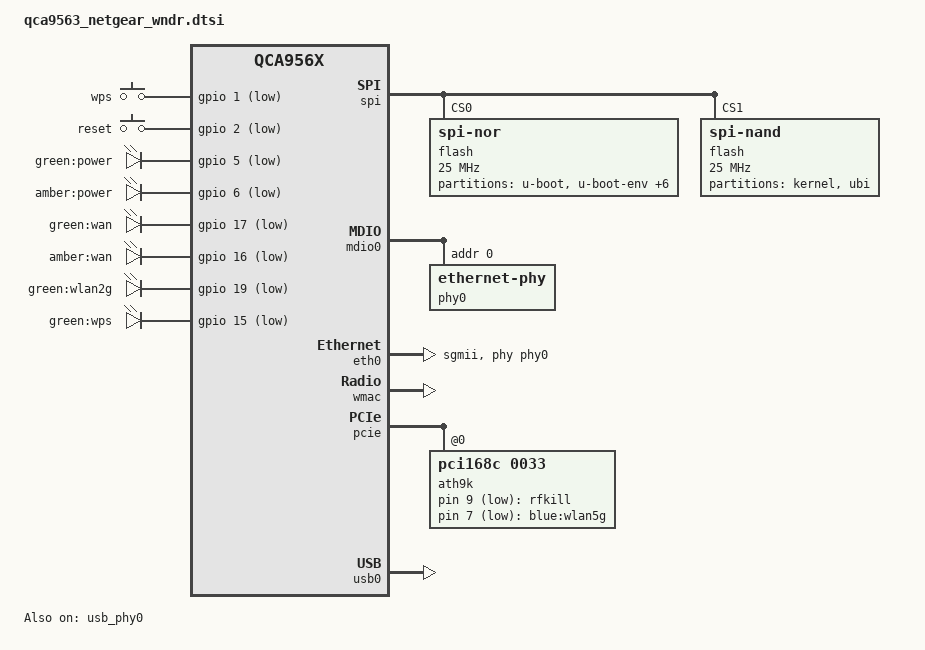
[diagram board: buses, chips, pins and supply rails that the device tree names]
// SPDX-License-Identifier: GPL-2.0-or-later OR MIT

#include "qca956x.dtsi"

#include <dt-bindings/gpio/gpio.h>
#include <dt-bindings/input/input.h>

/ {
	aliases {
		led-boot = &led_power_amber;
		led-failsafe = &led_power_amber;
		led-running = &led_power_green;
		led-upgrade = &led_power_amber;
		label-mac-device = &eth0;
	};

	keys {
		compatible = "gpio-keys";

		wps {
			label = "wps";
			linux,code = <KEY_WPS_BUTTON>;
			gpios = <&gpio 1 GPIO_ACTIVE_LOW>;
		};

		reset {
			label = "reset";
			linux,code = <KEY_RESTART>;
			gpios = <&gpio 2 GPIO_ACTIVE_LOW>;
		};
	};

	ath9k-keys {
		compatible = "gpio-keys-polled";
		poll-interval = <20>;

		rfkill {
			label = "rfkill";
			linux,code = <KEY_RFKILL>;
			gpios = <&ath9k 9 GPIO_ACTIVE_LOW>;
			debounce-interval = <60>;
		};
	};

	leds: leds {
		compatible = "gpio-leds";

		pinctrl-names = "default";
		pinctrl-0 = <&jtag_disable_pins>;

		led_power_green: power_green {
			label = "green:power";
			gpios = <&gpio 5 GPIO_ACTIVE_LOW>;
		};

		led_power_amber: power_amber {
			label = "amber:power";
			gpios = <&gpio 6 GPIO_ACTIVE_LOW>;
			default-state = "keep";
		};

		wan_green {
			label = "green:wan";
			gpios = <&gpio 17 GPIO_ACTIVE_LOW>;
		};

		wan_amber {
			label = "amber:wan";
			gpios = <&gpio 16 GPIO_ACTIVE_LOW>;
		};

		wlan2g_green {
			label = "green:wlan2g";
			gpios = <&gpio 19 GPIO_ACTIVE_LOW>;
			linux,default-trigger = "phy0tpt";
		};

		wps_green {
			label = "green:wps";
			gpios = <&gpio 15 GPIO_ACTIVE_LOW>;
		};
	};

	ath9k-leds {
		compatible = "gpio-leds";

		wlan5g_blue {
			label = "blue:wlan5g";
			gpios = <&ath9k 7 GPIO_ACTIVE_LOW>;
			linux,default-trigger = "phy1tpt";
		};
	};
};

&spi {
	status = "okay";

	flash@0 {
		compatible = "jedec,spi-nor";
		reg = <0>;
		spi-max-frequency = <25000000>;

		partitions {
			compatible = "fixed-partitions";
			#address-cells = <1>;
			#size-cells = <1>;

			partition@0 {
				label = "u-boot";
				reg = <0x0 0x40000>;
				read-only;
			};

			partition@40000 {
				label = "u-boot-env";
				reg = <0x40000 0x10000>;
			};

			partition@50000 {
				label = "caldata_backup";
				reg = <0x50000 0x10000>;
				read-only;
			};

			partition@60000 {
				label = "config";
				reg = <0x60000 0x10000>;
			};

			partition@70000 {
				label = "traffic_meter";
				reg = <0x70000 0x10000>;
			};

			partition@80000 {
				label = "pot";
				reg = <0x80000 0x10000>;
			};

			partition@90000 {
				label = "reserved";
				reg = <0x90000 0x160000>;
			};

			caldata: partition@1f0000 {
				label = "caldata";
				reg = <0x1f0000 0x10000>;
				read-only;
			};
		};
	};

	flash@1 {
		compatible = "spi-nand";
		reg = <1>;
		spi-max-frequency = <25000000>;

		partitions {
			compatible = "fixed-partitions";
			#address-cells = <1>;
			#size-cells = <1>;

			partition@0 {
				label = "kernel";
				reg = <0x0 0x400000>;
			};

			partition@400000 {
				label = "ubi";
				reg = <0x400000 0x7c00000>;
			};
		};
	};
};

&mdio0 {
	status = "okay";

	phy-mask = <0>;

	phy0: ethernet-phy@0 {
		reg = <0>;
		phy-mode = "sgmii";
		qca,mib-poll-interval = <500>;

		qca,ar8327-initvals = <
			0x04 0x00000080	/* PORT0 PAD MODE CTRL */
			0x10 0x81000080	/* POWER_ON_STRAP */
			0x50 0xcc35cc35	/* LED_CTRL0 */
			0x54 0xcb37cb37	/* LED_CTRL1 */
			0x58 0x00000000	/* LED_CTRL2 */
			0x5c 0x00f3cf00	/* LED_CTRL3 */
			0x7c 0x0000007e	/* PORT0_STATUS */
			0x94 0x00000200 /* PORT6_STATUS */
			>;
	};
};

&eth0 {
	status = "okay";

	pll-data = <0x03000101 0x00000101 0x00001919>;

	mtd-mac-address = <&caldata 0x0>;

	phy-mode = "sgmii";
	phy-handle = <&phy0>;
};

&wmac {
	status = "okay";

	mtd-mac-address = <&caldata 0x0>;
	qca,no-eeprom;
};

&pcie {
	status = "okay";

	ath9k: wifi@0,0 {
		/* chip is AR9580, override bogus PCI ID 168c:abcd */
		compatible = "pci168c,0033";
		reg = <0x0000 0 0 0 0>;
		mtd-mac-address = <&caldata 0xc>;
		qca,no-eeprom;
		qca,gpio-mask=<0xf6ff>;	/* unmask pin 9 for RFKILL button */
		#gpio-cells = <2>;
		gpio-controller;
	};
};

&usb_phy0 {
	status = "okay";
};

&usb0 {
	#address-cells = <1>;
	#size-cells = <0>;
	status = "okay";

	hub_port0: port@1 {
		reg = <1>;
		#trigger-source-cells = <0>;
	};
};
